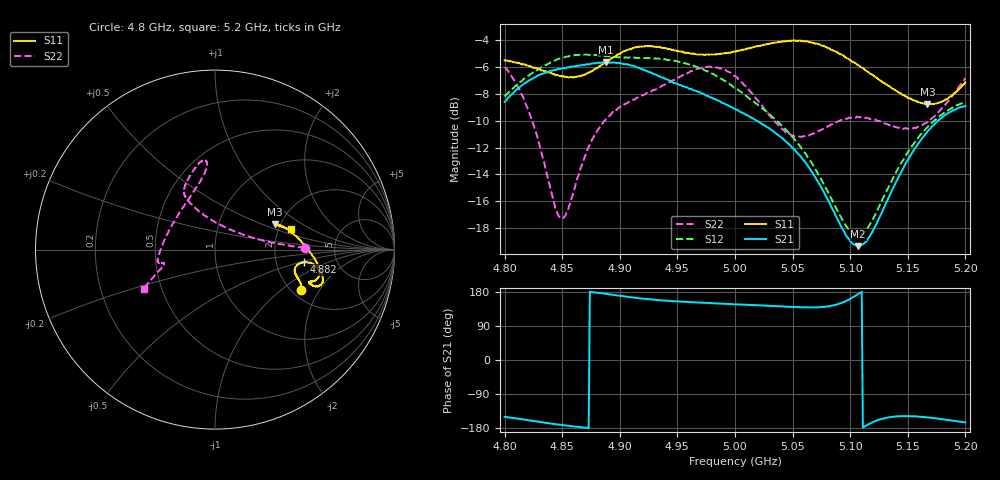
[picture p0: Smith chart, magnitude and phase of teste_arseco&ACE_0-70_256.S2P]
! Network Analyzer HP8722D
! Hewlett-Packard
! Data name: Linha & Wilkinson
! Saver's name: Rodrigo Anjos
! Comments: Teste da utilização de aquisição
! continua pelo VNA HP8722D
! Time and date: 8/5/2025 14:53
!  Frequency  S11  S21  S12  S22
# HZ  S  MA R 50
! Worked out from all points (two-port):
!   401 points, 4.8 GHz to 5.2 GHz, reference 50 ohm
!   highest |S21| = -5.65 dB at 4.888 GHz (marker M1); lowest = -19.3 dB at 5.107 GHz (marker M2)
!   |S21| within 3 dB of the highest: start of sweep to 4.988 GHz
!   lowest |S11| = -8.8 dB at 5.167 GHz (marker M3), VSWR 2.14, Z = 94 + j30.5 ohm
!   |S11| at or under -10 dB: nowhere
!   |S22| runs from -17.3 to -6.0 dB; largest |S21 - S12| = 1.1
!   S11 on the Smith chart (normalised r, x): 4.8 GHz: 2.23, -1.40; 4.882 GHz: 2.91, -0.53; 5.2 GHz: 2.34, +0.65
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4.8e9  0.5295 -25.2  0.3713 -150.1  0.3886 9.2  0.4996 1.1
4.821e9  0.5045 -20.6  0.4456 -159.2  0.4645 6.1  0.3415 5.9
4.843e9  0.4713 -17.1  0.4873 -168.9  0.5275 2.7  0.1562 38.3
4.848e9  0.4631 -16.0  0.4917 -170.8  0.5381 1.9  0.1377 57.6
4.855e9  0.4579 -14.3  0.4993 -173.5  0.5467 0.7  0.1474 85.9
4.867e9  0.4643 -10.6  0.5078 -177.7  0.5559 -1.0  0.216 110.5
4.882e9  0.5025 -7.8  0.5191 176.9  0.5518 -1.9  0.2957 118.2
4.888e9  0.5222 -7.9  0.5217 174.4  0.5486 -2.3  0.3203 118.8
4.913e9  0.5905 -11.2  0.5035 164.3  0.5426 -1.5  0.3785 116.7
4.934e9  0.5934 -15.9  0.4613 157.7  0.5375 -2.5  0.4188 111.0
4.973e9  0.5553 -19.0  0.3964 150.8  0.4881 -5.9  0.4991 98.2
5e9  0.5711 -20.1  0.3493 146.6  0.4201 -6.1  0.4637 95.8
5.042e9  0.6219 -18.2  0.2697 141.2  0.2989 1.8  0.2916 129.0
5.067e9  0.6158 -13.8  0.2034 138.7  0.2188 9.0  0.2819 164.7
5.096e9  0.5426 -3.5  0.119 155.2  0.1294 35.6  0.3209 -171.7
5.107e9  0.5076 1.7  0.108 174.3  0.1182 56.8  0.3257 -168.2
5.117e9  0.4729 6.9  0.1173 -167.8  0.13 76.1  0.3205 -166.7
5.134e9  0.4247 15.1  0.1659 -151.0  0.1816 94.5  0.3042 -166.0
5.152e9  0.3811 21.2  0.2332 -148.3  0.2477 100.5  0.2954 -164.4
5.167e9  0.3636 22.8  0.2873 -151.5  0.2991 101.3  0.3121 -161.4
5.182e9  0.3767 20.7  0.3307 -157.0  0.3392 101.4  0.3593 -157.3
5.2e9  0.4378 14.9  0.3584 -164.8  0.3711 101.7  0.4543 -150.9
